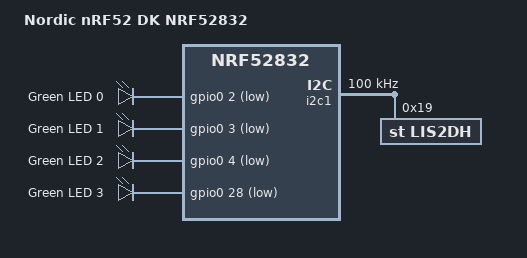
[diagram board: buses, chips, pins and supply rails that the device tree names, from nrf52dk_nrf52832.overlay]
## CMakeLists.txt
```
cmake_minimum_required(VERSION 3.20.0)
find_package(Zephyr REQUIRED HINTS $ENV{ZEPHYR_BASE})

project(CowNeck_node)

target_sources(app PRIVATE src/main.c)
```

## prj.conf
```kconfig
CONFIG_BT=y
CONFIG_BT_EXT_ADV=y
CONFIG_BT_PER_ADV=y
CONFIG_BT_DEBUG_LOG=y
CONFIG_BT_DEVICE_NAME="Vanix_accelerometer"

CONFIG_PM=y
CONFIG_PM_DEVICE=y
CONFIG_CBPRINTF_FP_SUPPORT=y
CONFIG_I2C=y
CONFIG_SENSOR=y

#for enabling /disabling serial
CONFIG_LOG=y
CONFIG_SERIAL=y



CONFIG_SENSOR_LOG_LEVEL_DBG=y
CONFIG_MULTITHREADING=y
CONFIG_STDOUT_CONSOLE=y
CONFIG_LIS2DH=y
CONFIG_PWM=y
CONFIG_LIS2DH_OPER_MODE_LOW_POWER=y 
CONFIG_LIS2DH_ACCEL_RANGE_2G=y
CONFIG_BT_CTLR_ADV_DATA_LEN_MAX=1650
CONFIG_LIS2DH_ODR_9_NORMAL=y
CONFIG_LIS2DH_OPER_MODE_HIGH_RES=y
CONFIG_ADC=y

CONFIG_DEBUG_OPTIMIZATIONS=y
CONFIG_DEBUG_THREAD_INFO=y
CONFIG_GPIO=y
CONFIG_GPIO_NRFX=y
```

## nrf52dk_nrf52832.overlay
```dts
&i2c1{
    compatible = "nordic,nrf-twim";
    status = "okay";

    clock-frequency = <I2C_BITRATE_STANDARD>;

    lis2dh@19 {
        status = "okay";
        compatible = "st,lis2dh";
        reg = <0x19>;
       
        label = "LIS2DH";
        
    };
};


/ {
	model = "Nordic nRF52 DK NRF52832";
	compatible = "nordic,nrf52-dk-nrf52832";

	chosen {
		zephyr,console = &uart0;
		zephyr,shell-uart = &uart0;
		zephyr,uart-mcumgr = &uart0;
		zephyr,bt-mon-uart = &uart0;
		zephyr,bt-c2h-uart = &uart0;
		zephyr,sram = &sram0;
		zephyr,flash = &flash0;
		zephyr,code-partition = &slot0_partition;
	};

	leds {
		compatible = "gpio-leds";
		led0: led_0 {
			gpios = <&gpio0 2 GPIO_ACTIVE_LOW>;
			label = "Green LED 0";
		};
		led1: led_1 {
			gpios = <&gpio0 3 GPIO_ACTIVE_LOW>;
			label = "Green LED 1";
		};
		led2: led_2 {
			gpios = <&gpio0 4 GPIO_ACTIVE_LOW>;
			label = "Green LED 2";
		};
		led3: led_3 {
			gpios = <&gpio0 28 GPIO_ACTIVE_LOW>;
			label = "Green LED 3";
		};
	};
    /* These aliases are provided for compatibility with samples */
    aliases {
        led0 = &led0;
        led1 = &led1;
        led2 = &led2;
        led3 = &led3;
        pwm-led0 = &pwm_led0;
        sw0 = &button0;
        sw1 = &button1;
        sw2 = &button2;
        sw3 = &button3;
        bootloader-led0 = &led0;
        mcuboot-button0 = &button0;
        mcuboot-led0 = &led0;
        watchdog0 = &wdt0;
    };
};





&pinctrl {
uart0_default: uart0_default {
    group1 {
        psels = <NRF_PSEL(UART_TX, 0, 24)>, //6   for nrf52dk5832 / 5840
            <NRF_PSEL(UART_RX, 0, 23)>,   //8	  for nrf52dk5832
            <NRF_PSEL(UART_RTS, 0, 5)>,
            <NRF_PSEL(UART_CTS, 0, 7)>;
    };
};

uart0_sleep: uart0_sleep {
    group1 {
        psels = <NRF_PSEL(UART_TX, 0, 24)>,    //6
            <NRF_PSEL(UART_RX, 0, 23)>,        //8
            <NRF_PSEL(UART_RTS, 0, 5)>,
            <NRF_PSEL(UART_CTS, 0, 7)>;
        low-power-enable;
    };
};

i2c1_default: i2c1_default {
    group1 {
        psels = <NRF_PSEL(TWIM_SDA, 0, 26)>,  
            <NRF_PSEL(TWIM_SCL, 0, 25)>;      
    };
};

i2c1_sleep: i2c1_sleep {
    group1 {
        psels = <NRF_PSEL(TWIM_SDA, 0, 26)>,   
            <NRF_PSEL(TWIM_SCL, 0, 25)>;        
        low-power-enable;
    };
};
};
```

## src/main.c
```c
/*
 * Copyright (c) 2020 Nordic Semiconductor ASA
 *
 * SPDX-License-Identifier: Apache-2.0
 */

#include <zephyr/bluetooth/bluetooth.h>
#include <zephyr/zephyr.h>
#include <zephyr/drivers/gpio.h>
#include <zephyr/device.h>
#include <zephyr/pm/pm.h>
#include <hal/nrf_gpio.h>
#include <zephyr/drivers/sensor.h>

#define SENSOR_TYPE 0x1E;
#define TOTAL_PACKETS 1;
#define device_Id 104
#define Frequency 1
/* BLOCK FOR VARIABLES*/

static int T_sleep_after_adv = 0; // For time after advertising.
static int Total_time = 40;       // T_adv.
static int Byte = 1;              // Space for x_msb.
static int T_fetch = 500;         // will be in ms in code.

/* my_work, my_timer --> repeated adv function*/
/* acc_work, acc_timer --> fetch_acc_data */
struct k_work my_work, acc_work;
struct k_timer my_timer, acc_timer;

/* Advertisement struct */
struct bt_le_ext_adv *adv;

/* Sensor node id */
const struct device *sensor = DEVICE_DT_GET_ANY(st_lis2dh);

/* acc_ptr points to Motion_data[0] and acc_ptr++ points to Motion_data[1] */
uint8_t *acc_ptr;

typedef struct
{
  // uint8_t x_msb; /* Why is LSB used? */
  uint8_t x_lsb;
  // uint8_t y_msb;
  uint8_t y_lsb;
  // uint8_t z_msb;
  uint8_t z_lsb;
} motion_data;
motion_data Motion_data[80];

/* Button variables */
static uint32_t time, last_time; // used for detecting long button press
static uint32_t button_counter = 0;
int button_tick = 0;

int sleep_flag = 1;
static int Motion_index = 0;     /* tb removed */
int num_packets = TOTAL_PACKETS; /* not using */
int acc_fetch_flag = 0;          /* 0 to 80 indexing */

int err;


struct bt_le_adv_param adv_param = BT_LE_ADV_PARAM_INIT(BT_LE_ADV_OPT_NONE | BT_LE_ADV_OPT_EXT_ADV | BT_LE_ADV_OPT_USE_IDENTITY | BT_LE_ADV_OPT_NO_2M,
                                                        0x30,
                                                        0x30, // advertising interval is set to 3 seconds

                                                        NULL); // NULL because the advertisement is not directed

// start advertising with no timeout and exactly one extended advertising event allowed in the extended advertising set.
struct bt_le_ext_adv_start_param ext_adv_param = BT_LE_EXT_ADV_START_PARAM_INIT(0, 1); // number of events is set to 1.

/* FUNCTION FOR APPROXIMATION*/
double round_off(float value)
{
  // printf("%f ",value);
  {
    if (value > 0)
    {
      if ((int)(value * 10) % 10 <= 4)
        return (uint8_t)(value);
      else

        return (uint8_t)(value + 1);
    }
    else
      return (int8_t)(value);
  }
  // return 0;
}

void enter_sleep(void)
{

  printk("Entering SYSTEM-OFF mode\n");
  NRF_POWER->SYSTEMOFF = 1;
}

// function for creating a random static address and setting it as the identity address of the device.
static void set_random_static_address(void)
{
  int err;
  int err1;
  printk("Starting iBeacon Demo\n");

  bt_addr_le_t addr;

  // convert the string into a binary address and stores this address in a buffer whose address is addr.
  err = bt_addr_le_from_str("DF:AD:BE:AF:BA:22", "random", &addr); 
  if (err)
  {
    printk("Invalid BT address (err %d)\n", err);
  }

  // create a new Identity address. This must be done before enabling Bluetooth. Addr is the address used for the new identity
  err1 = bt_id_create(&addr, NULL);
  if (err1 < 0)
  {
    printk("Creating new ID failed (err %d)\n", err1);
  }
  printk("Created new address\n");
}

// function to create the extended advertising set using the advertising parameters.
void adv_param_init(void)
{
  int err;

  err = bt_le_ext_adv_create(&adv_param, NULL, &adv);

  if (err)
  {
    printk("Failed to create advertising set (err %d)\n", err);
    return;
  }
  printk("Created extended advertising set \n");
}

static int count = 0;
void fetch_acc_data(void)

{ // int count=0;
  struct sensor_value accel[3];

  if (sensor == NULL)
  {
    printf("No device found\n");
    return;
  }
  if (!device_is_ready(sensor))
  {
    printf("Device %s is not ready\n", sensor->name);
    return;
  }

  int rc = sensor_sample_fetch(sensor);
  // So rc now contains the 0 but value is fetched from the sensor using above code.
  // int rc1 = sensor_sample_fetch(sensor);

  if (rc == 0)
  {
    rc = sensor_channel_get(sensor,
                            SENSOR_CHAN_ACCEL_XYZ,
                            accel);
  }
  if (rc < 0)
  {
    printf("ERROR: Update failed: %d\n", rc);
  }
  else
  {
    // UPDATE SUCCESSFULL! Sensor works good
    count++; // For the counting of (x,y,z) readings as accel[3]
    printf(" %d ", count);
  }
  Motion_data[acc_fetch_flag].x_lsb = (int8_t)(round_off(accel[0].val1 * 6.4 + accel[0].val2 * 0.0000064)); // k_msleep(10);
  Motion_data[acc_fetch_flag].y_lsb = (int8_t)(round_off(accel[1].val1 * 6.4 + accel[1].val2 * 0.0000064)); ////k_msleep(10);
                                                                                                            // Motion_data[acc_fetch_flag].z_msb= (int8_t)(accel[2].val1);
  Motion_data[acc_fetch_flag].z_lsb = (int8_t)(round_off(accel[2].val1 * 6.4 + accel[2].val2 * 0.0000064)); // k_msleep(10);
 
  printf("x= %u, y= %u, z=%u\n", Motion_data[acc_fetch_flag].x_lsb, Motion_data[acc_fetch_flag].y_lsb, Motion_data[acc_fetch_flag].z_lsb);


  // All these values goes in Motion_data which is a struct having 6 values and we will take 41 readings at a time.
  acc_fetch_flag++; // flag = 1,2,3,4.....and the motion_data is updated with the new values till flag = 41.
  // Hence 6 readings 41 times = 246 bytes.
  if (acc_fetch_flag == 80)
  {
    acc_fetch_flag = 0; // After 41 the next reading will go in Motion_data[0].

    k_timer_stop(&acc_timer); // As it will reach 41st reading --> Then timer is stopped. No further data will be fetched as of now.
    repeated_adv();
    count = 0;
    // It means that after 10 seconds repeated adv will start.
  }
}
// #define
void start_adv(void)
{

  printk("Start Extended Advertising...");
  err = bt_le_ext_adv_start(adv, &ext_adv_param); // BT_LE_EXT_ADV_START_DEFAULT);

  if (err)
  {
    printk("Failed to start extended advertising "
           "(err %d)\n",
           err);
    return;
  }
  printk("done.\n");
  k_msleep(100);
  bt_le_ext_adv_stop(adv);
  printk("Stopped advertising..!!\n");

  printk("Entering sleep mode..!!\n");

  Motion_index = 0;
  // k_msleep(20000);

  k_timer_start(&acc_timer, K_MSEC(10), K_MSEC(Frequency));
}

int i;
void repeated_adv(void)
{
  int err;
  static uint8_t mfg_data[241];

  static const struct bt_data ad[] = {
      BT_DATA(BT_DATA_MANUFACTURER_DATA, mfg_data, 241),

  }; // ad is made

  // put the logged sensor data into data buffers

  mfg_data[0] = device_Id;
 
  acc_ptr = &Motion_data[Motion_index].x_lsb; // DOUBT why only x_msb values.

  for (i = 1; i < 241; i++)
  {

    mfg_data[i] = *(acc_ptr + (i - 1)); // for mfg_data[i] = 1byte as 0x45 or something as a char.
    // expanded as = Motion_data[i-2].x_msb;
    printf("%d ", mfg_data[i]);
  }
  // mfg_data[4] = 108;

  Motion_index = Motion_index + 80; // for 1 byte

  printk("Set Extended Advertising Data...\n");

  err = bt_le_ext_adv_set_data(adv, ad, ARRAY_SIZE(ad), NULL, 0);
  if (err)
  {
    printk("Failed (err %d)\n", err);
    return;
  }
  start_adv();
}

K_WORK_DEFINE(my_work, repeated_adv);

void my_expiry_function(struct k_timer *timer_id)
{
  k_work_submit(&my_work); // After this submit-> My-work will start executing.
};
K_TIMER_DEFINE(my_timer, my_expiry_function, NULL);
// Expiry function is executed each time the timer expires.

K_WORK_DEFINE(acc_work, fetch_acc_data);
// Definitions of K_WORK_DEFINE is to initialize the work inside.
// Repeated_adv, my_timer and acc_work are defined and initialize.

// Hence as soon as the timer is expired --> repeated adv will take place.
void acc_expiry_function(struct k_timer *timer_id)
{
  k_work_submit(&acc_work);
};
K_TIMER_DEFINE(acc_timer, acc_expiry_function, NULL);


void main(void)
{

  printk("Starting Advertising\n");

  /* Create a random static address and set it as the identity address of the device */
  set_random_static_address();

  /* Initialize the Bluetooth Subsystem */
  err = bt_enable(NULL);
  if (err)
  {
    printk("Bluetooth init failed (err %d)\n", err);
    return;
  }

  adv_param_init();
  k_timer_start(&acc_timer, K_MSEC(10), K_MSEC(Frequency));
}
```
